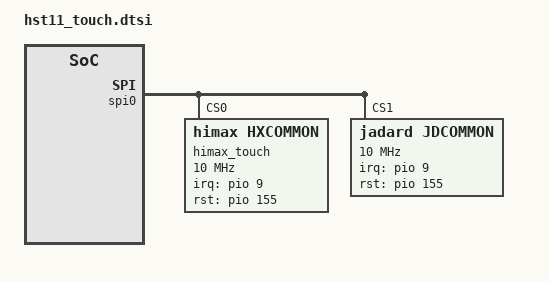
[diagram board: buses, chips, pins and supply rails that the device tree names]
// SPDX-License-Identifier: (GPL-2.0 OR MIT)
/*
 * Copyright (C) 2020 MediaTek Inc.
 */

/* TOUCH start */
/*HST11 code for AX7800A-437 by huangpengyu at 20250428 start*/
&spi0 {
    status = "okay";
    #address-cells = <1>;
    #size-cells = <0>;
    mediatek,pad-select = <0>;
    cs-gpios = <0>, <0>, <0>, <0>;

    himax_touch@0 {
        compatible = "himax,hxcommon";
        reg = <0>;
        status = "okay";
        spi-max-frequency = <10000000>;
        spi-cpha;
        interrupt-parent = <&pio>;
        himax,panel-coords = <0 800 0 1340>;
        himax,display-coords = <0 800 0 1340>;
        himax,irq-gpio = <&pio 9 0x00>;
        himax,rst-gpio = <&pio 155 0x00>;
        report_type = <1>;
    };

    jadard@1 {
        compatible = "jadard,jdcommon";
        reg = <1>;
        status = "okay";
        spi-max-frequency = <10000000>;
        interrupt-parent = <&pio>;
        interrupts = <9 0x00>;
        jadard,panel-sense-nums = <22 36>;
        jadard,panel-coords = <0 800 0 1340>;
        jadard,int-is-edge = <1>;
        jadard,panel-max-points = <10>;
        jadard,irq-gpio = <&pio 9 0x00>;
        jadard,rst-gpio = <&pio 155 0x00>;
    };
};
/*HST11 code for AX7800A-437 by huangpengyu at 20250428 end*/
/* TOUCH end */
